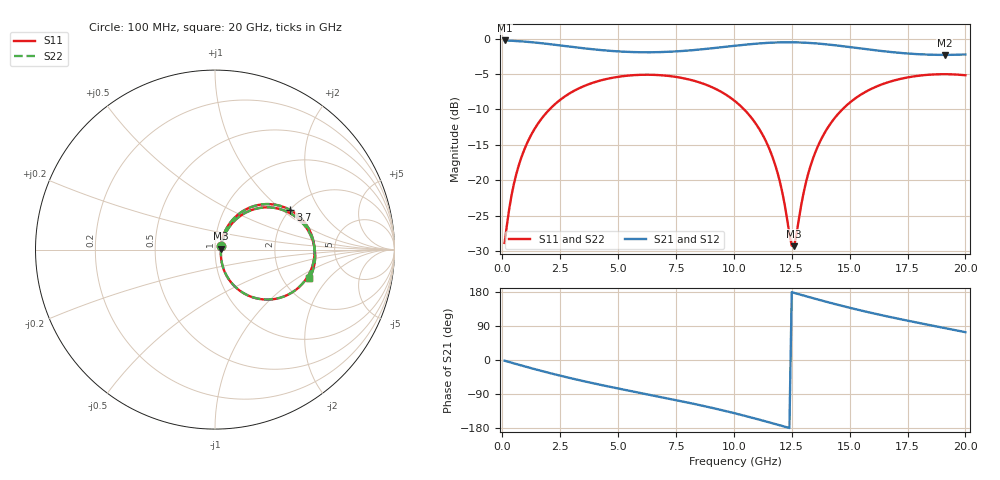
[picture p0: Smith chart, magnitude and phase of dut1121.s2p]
! Touchstone file exported from HFSS 2026.1.0
!  File:  C:/ffzhzh/LocalFiles/Ansys_Project_Files/temp_train_TSV_RDL_1121_1783306274_30076.aedt
!  Generated:  11:03:00 AM Jul  6, 2026
!  Design:  TSV_RDL
!  Project:  temp_train_TSV_RDL_1121_1783306274_30076
! Variables:
!  h_bsmrdl = 4.04um
!  h_ox = 20um
!  h_rdl = 5um
!  h_sub = 66.76um
!  h_tmrdl = 2.69um
!  h_tsv = 66.76um
!  h_via = 3um
!  l_bsmrdl = 925.59um
!  l_sub = 4969.86um
!  l_tmrdl = 422.99um
!  m_sub = 200um
!  pitch = 38.97um
!  r_tsv = 8.19um
!  s_tmrdl = 10um
!  w_bsmrdl = 12.01um
!  w_sub = 500um
!  w_tmrdl = 21.7um
!  x_tsv_center1 = 433.84um
!  x_tsv_center2 = 1371.44um
!  x_tsv_center3 = 1816.13um
!  x_tsv_center4 = 2753.73um
!  x_tsv_center5 = 3198.42um
!  x_tsv_center6 = 4136.02um
# GHz S MA R 50.000000
! Terminal data exported
! Port[1] = TM_RDL1_1_T1
! Port[2] = TM_RDL5_1_T1
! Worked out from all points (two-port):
!   200 points, 100 MHz to 20 GHz, reference 50 ohm
!   highest |S21| = -0.28 dB at 100 MHz (marker M1); lowest = -2.3 dB at 19.1 GHz (marker M2)
!   |S21| within 3 dB of the highest: start of sweep to end of sweep
!   lowest |S11| = -29.3 dB at 12.6 GHz (marker M3), VSWR 1.07, Z = 53.5 + j0.483 ohm
!   |S11| at or under -10 dB: start of sweep to 2.04 GHz; 10.44 GHz to 14.69 GHz (4.245 GHz wide, 33.8 % of centre)
!   |S22| runs from -29.2 to -5.0 dB; largest |S21 - S12| = 1.9e-14
!   S11 on the Smith chart (normalised r, x): 100 MHz: 1.06, +0.04; 3.7 GHz: 2.01, +1.14; 20 GHz: 2.78, -1.29
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0.1  0.03614 28.8  0.9687 -1.8  0.9687 -1.8  0.03614 28.8
! Gamma 0 0 0 0
! Port Impedance 50 0 50 0
0.5  0.09412 59.9  0.9621 -8.9  0.9621 -8.9  0.09412 59.9
1.2  0.202 58.9  0.9438 -20.8  0.9438 -20.8  0.202 58.9
2.2  0.3356 47.1  0.9062 -36.8  0.9062 -36.8  0.3356 47.1
3.5  0.4597 30.2  0.8537 -55.7  0.8537 -55.7  0.4597 30.2
3.7  0.4738 27.7  0.8465 -58.4  0.8465 -58.4  0.4738 27.7
5.3  0.5446 8.4  0.8062 -78.8  0.8062 -78.8  0.5446 8.5
6.8  0.5514 -8.9  0.8018 -97.1  0.8018 -97.1  0.5514 -8.9
8.6  0.485 -30.4  0.8382 -120.0  0.8382 -120.0  0.485 -30.3
10.1  0.3561 -49.7  0.8908 -141.5  0.8908 -141.5  0.356 -49.6
11  0.2435 -60.9  0.9204 -155.8  0.9204 -155.8  0.2435 -60.8
11.6  0.1565 -66.2  0.9343 -165.7  0.9343 -165.7  0.1565 -66.0
12  0.09594 -64.7  0.9394 -172.6  0.9394 -172.6  0.09601 -64.5
12.5  0.03461 -18.2  0.9406 178.8  0.9406 178.8  0.03491 -17.9
12.6  0.03429 7.6  0.9401 177.1  0.9401 177.1  0.03462 7.5
13  0.07973 53.5  0.9356 170.3  0.9356 170.3  0.0799 53.3
13.4  0.1396 57.9  0.9274 163.5  0.9274 163.5  0.1397 57.8
14  0.227 53.7  0.9095 153.5  0.9095 153.5  0.2271 53.6
14.7  0.3179 45.4  0.8828 142.4  0.8828 142.4  0.3179 45.4
16.7  0.4938 20.4  0.8055 114.1  0.8055 114.1  0.4938 20.5
19.1  0.5601 -7.0  0.7662 84.4  0.7662 84.4  0.5601 -6.9
20  0.5503 -17.0  0.7719 73.4  0.7719 73.4  0.5503 -16.9
